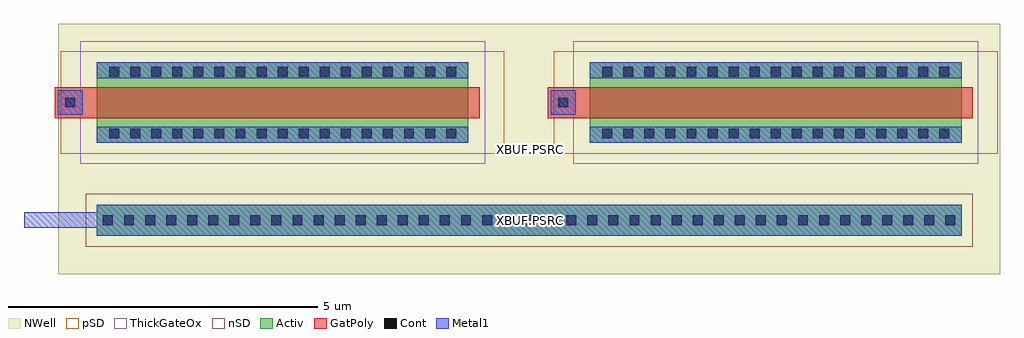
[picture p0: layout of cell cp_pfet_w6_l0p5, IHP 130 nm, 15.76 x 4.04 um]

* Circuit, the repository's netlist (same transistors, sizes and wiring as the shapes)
* extracted by klt extract --deck sg13cmos5l

* cell cp_pfet_w6_l0p5
* pin XBUF_PSRC
.SUBCKT cp_pfet_w6_l0p5 XBUF_PSRC
* device instance $1 r0 *1 4.3,3.11 pfet
X$1 \$6 \$2 \$3 XBUF_PSRC sg13_hv_pmos L=0.5U W=6U AS=2.4P AD=2.4P PS=12.8U
+ PD=12.8U
* device instance $2 r0 *1 12.26,3.11 pfet
X$2 \$7 \$4 \$5 XBUF_PSRC sg13_hv_pmos L=0.5U W=6U AS=2.4P AD=2.4P PS=12.8U
+ PD=12.8U
.ENDS cp_pfet_w6_l0p5

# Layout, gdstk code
import gdstk
lib = gdstk.Library(unit=1e-6, precision=1e-09)
def R(c, l, rs):  # rectangles x0, y0, x1, y1
    for r in rs: c.add(gdstk.rectangle(r[:2], r[2:], *l))
def A(c, l, x, y, w, h, nx, ny, dx, dy):  # array of equal rectangles
    R(c, l, [(x+i*dx, y+j*dy, x+i*dx+w, y+j*dy+h) for i in range(nx) for j in range(ny)])
Activ = (1, 0)
GatPoly = (5, 0)
Cont = (6, 0)
nSD = (7, 0)
Metal1 = (8, 0)
pSD = (14, 0)
NWell = (31, 0)
ThickGateOx = (44, 0)

cp_pfet_w6_l0p5 = lib.new_cell('cp_pfet_w6_l0p5')
R(cp_pfet_w6_l0p5, Activ, [(1.3,0.96,15.26,1.46), (1.3,2.46,7.3,3.76), (9.26,2.46,15.26,3.76)])
R(cp_pfet_w6_l0p5, GatPoly, [(0.62,2.86,1.12,3.36), (1.12,2.86,7.48,3.36), (8.58,2.86,9.08,3.36), (9.08,2.86,15.44,3.36)])
A(cp_pfet_w6_l0p5, Cont, 1.4, 1.13, 0.16, 0.16, 41, 1, 0.34, 0)
A(cp_pfet_w6_l0p5, Cont, 1.5, 2.53, 0.16, 0.16, 17, 2, 0.34, 1)
A(cp_pfet_w6_l0p5, Cont, 9.46, 2.53, 0.16, 0.16, 17, 2, 0.34, 1)
R(cp_pfet_w6_l0p5, Cont, [(0.79,3.03,0.95,3.19), (8.75,3.03,8.91,3.19)])
R(cp_pfet_w6_l0p5, nSD, [(1.12,0.78,15.44,1.64)])
R(cp_pfet_w6_l0p5, Metal1, [(1.3,0.96,15.26,1.46), (0.125,1.085,1.3,1.335), (1.3,2.46,7.3,2.72), (9.26,2.46,15.26,2.72), (0.67,2.91,1.07,3.31), (8.63,2.91,9.03,3.31), (1.3,3.5,7.3,3.76), (9.26,3.5,15.26,3.76)])
R(cp_pfet_w6_l0p5, pSD, [(0.72,2.28,7.88,3.94), (8.68,2.28,15.84,3.94)])
R(cp_pfet_w6_l0p5, NWell, [(0.68,0.34,15.88,4.38)])
R(cp_pfet_w6_l0p5, ThickGateOx, [(1.03,2.12,7.57,4.1), (8.99,2.12,15.53,4.1)])
cp_pfet_w6_l0p5.add(gdstk.Label('XBUF.PSRC', (8.28,1.21), layer=8, texttype=2))
cp_pfet_w6_l0p5.add(gdstk.Label('XBUF.PSRC', (8.28,2.36), layer=31, texttype=2))

lib.write_gds('cp_pfet_w6_l0p5.gds')
